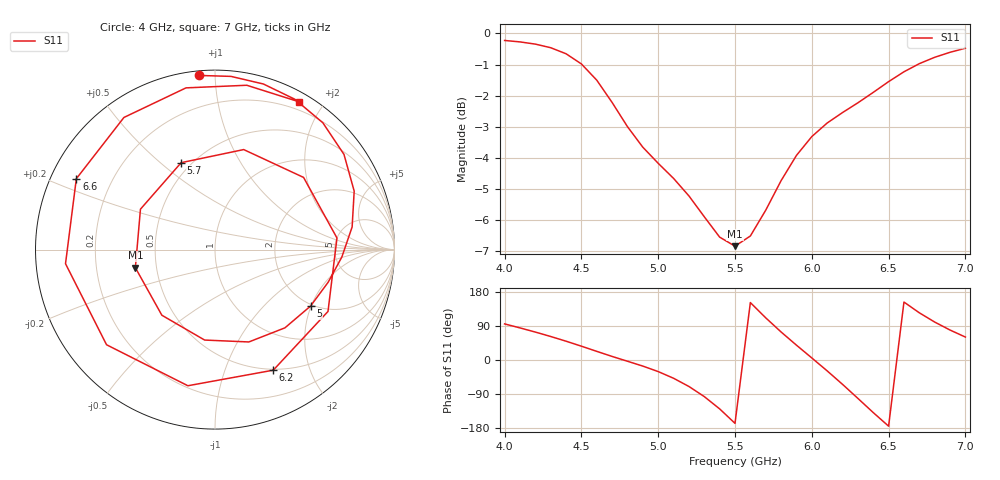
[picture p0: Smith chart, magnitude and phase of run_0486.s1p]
! Touchstone file exported from HFSS 2024.2.0
!  File:  C:/Users/wsak9/Desktop/Sim Fast/Widenad Patch/WP_AI_V1_sweep.aedt
!  Generated:  12:22:03 PM Oct 14, 2026
!  Design:  A1_model
!  Project:  WP_AI_V1_sweep
!  Setup:  Setup1
!  Solution:  Sweep
! Variables:
!  Air_gap = 3.25mm
!  Curve_Amp1 = 0.56
!  Curve_len1 = 1
!  Curve_pos = 10.565mm
!  Extra = 6.72mm
!  H_sub = 0.79mm
!  L_Patch = 17.13mm
!  L_Patch1 = 16.77mm
!  Sx = 3.24mm
!  Sy = 0.79mm
!  WS = 0.36mm
!  W_Patch = 13.25mm
!  W_Patch1 = 10.05mm
!Data is not renormalized
# GHz S MA
! Terminal data exported
! Port[1] = 1
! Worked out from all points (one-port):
!   31 points, 4 GHz to 7 GHz, reference per port
!   lowest |S11| = -6.8 dB at 5.5 GHz (marker M1), VSWR 2.67
!   |S11| at or under -10 dB: nowhere
!   S11 on the Smith chart (normalised r, x): 4 GHz: 0.02, +0.91; 5 GHz: 1.94, -1.98; 5.7 GHz: 0.44, +0.59; 6.2 GHz: 0.49, -1.48; 6.6 GHz: 0.07, +0.24; 7 GHz: 0.11, +1.71
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4  0.9743 95.2
4.2  0.9612 73.7
4.3  0.9485 62.0
4.4  0.9275 49.6
4.5  0.8932 36.4
4.6  0.8411 22.8
4.8  0.708 -3.3
5  0.6183 -30.6
5.1  0.5847 -48.2
5.2  0.548 -69.9
5.3  0.5073 -96.6
5.4  0.4705 -129.0
5.5  0.455 -167.2
5.6  0.4725 151.5
5.7  0.5197 111.3
5.8  0.5798 74.0
5.9  0.6366 39.2
6  0.6826 5.4
6.1  0.7177 -28.7
6.2  0.7461 -64.2
6.3  0.7735 -101.3
6.4  0.8039 -138.7
6.5  0.8366 -174.6
6.6  0.8677 152.9
6.7  0.8941 124.6
6.8  0.9154 100.2
6.9  0.9326 79.1
7  0.9467 60.5
